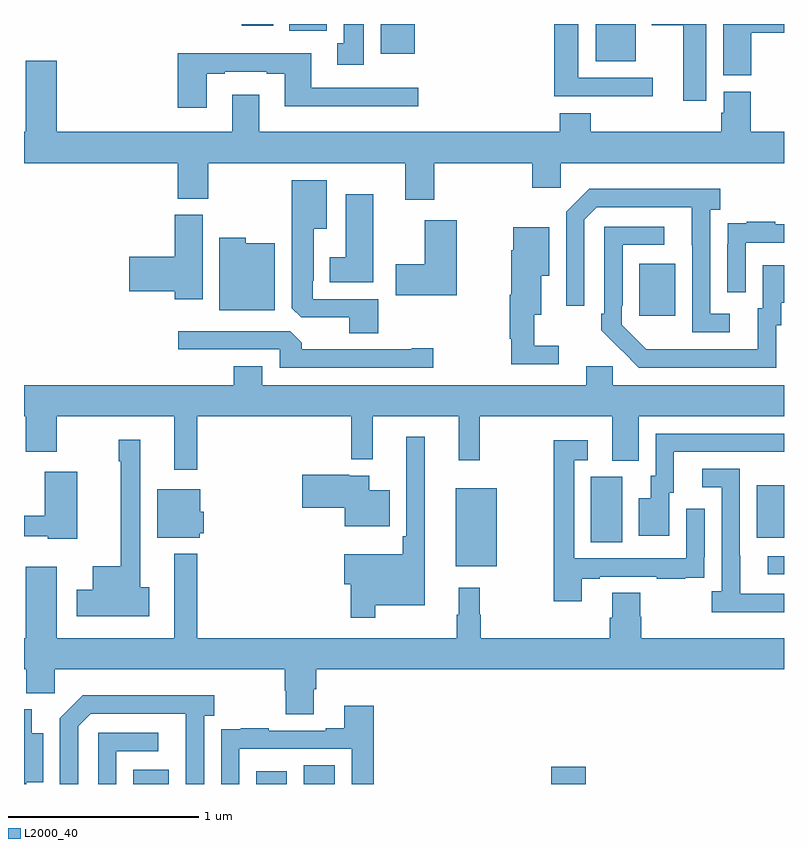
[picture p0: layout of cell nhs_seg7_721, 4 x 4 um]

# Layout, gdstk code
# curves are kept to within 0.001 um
import gdstk
lib = gdstk.Library(unit=1e-6, precision=1e-09)
def R(c, l, rs):  # rectangles x0, y0, x1, y1
    for r in rs: c.add(gdstk.rectangle(r[:2], r[2:], *l))
def P(c, l, *ps):  # polygons
    for p in ps: c.add(gdstk.Polygon(p, *l))
L2000_40 = (2000, 40)

nhs_seg7_721 = lib.new_cell('nhs_seg7_721')
R(nhs_seg7_721, L2000_40, [(165.575,1012,165.763,1012.075), (166.223,1012,166.384,1012.066), (166.472,1012,166.636,1012.1), (167.774,1012,167.957,1012.09), (168.915,1013.103,169,1013.199), (167.273,1013.147,167.488,1013.557), (167.984,1013.272,168.148,1013.616), (168.857,1013.297,169,1013.572), (168.239,1014.465,168.427,1014.739), (168.008,1015.805,168.22,1016), (166.877,1015.844,167.056,1016), (166.397,1015.964,166.594,1016), (166.145,1015.992,166.312,1016)])
P(nhs_seg7_721, L2000_40, [(166.789,1016),(166.682,1016),(166.682,1015.898),(166.649,1015.898),(166.649,1015.785),(166.789,1015.785)],
  [(168.827,1015.955),(169,1015.955),(169,1016),(168.68,1016),(168.68,1015.729),(168.827,1015.729)],
  [(168.31,1015.716),(167.917,1015.716),(167.917,1016),(167.792,1016),(167.792,1015.619),(168.31,1015.619)],
  [(168.592,1016),(168.305,1016),(168.305,1015.994),(168.47,1015.994),(168.47,1015.596),(168.592,1015.596)],
  [(165.961,1015.737),(166.057,1015.737),(166.057,1015.749),(166.277,1015.749),(166.277,1015.737),(166.373,1015.737),(166.373,1015.568),(167.074,1015.568),(167.074,1015.665),(166.513,1015.665),(166.513,1015.846),(165.809,1015.846),(165.809,1015.56),(165.961,1015.56)],
  [(168.683,1015.644),(168.683,1015.533),(168.671,1015.533),(168.671,1015.432),(167.984,1015.432),(167.984,1015.531),(167.819,1015.531),(167.819,1015.432),(166.237,1015.432),(166.237,1015.627),(166.097,1015.627),(166.097,1015.432),(165.172,1015.432),(165.172,1015.807),(165.008,1015.807),(165.008,1015.432),(165,1015.432),(165,1015.268),(165.809,1015.268),(165.809,1015.081),(165.969,1015.081),(165.969,1015.268),(167.006,1015.268),(167.006,1015.074),(167.159,1015.074),(167.159,1015.268),(167.675,1015.268),(167.675,1015.137),(167.826,1015.137),(167.826,1015.268),(169,1015.268),(169,1015.432),(168.824,1015.432),(168.824,1015.644)],
  [(166.865,1014.552),(166.521,1014.552),(166.521,1014.649),(166.525,1014.649),(166.525,1014.923),(166.594,1014.923),(166.594,1015.177),(166.409,1015.177),(166.409,1014.505),(166.458,1014.456),(166.712,1014.456),(166.712,1014.373),(166.865,1014.373)],
  [(168.715,1014.474),(168.612,1014.474),(168.612,1015.022),(168.664,1015.022),(168.664,1015.132),(167.974,1015.132),(167.853,1015.011),(167.853,1014.516),(167.949,1014.516),(167.949,1014.969),(168.015,1015.035),(168.515,1015.035),(168.516,1014.378),(168.715,1014.378)],
  [(166.837,1015.105),(166.694,1015.105),(166.694,1014.772),(166.61,1014.772),(166.61,1014.641),(166.837,1014.641)],
  [(165.94,1014.996),(165.794,1014.996),(165.794,1014.776),(165.555,1014.776),(165.555,1014.593),(165.794,1014.593),(165.794,1014.552),(165.94,1014.552)],
  [(167.278,1014.967),(167.108,1014.967),(167.108,1014.735),(166.956,1014.735),(166.956,1014.572),(167.278,1014.572)],
  [(168.798,1014.849),(169,1014.849),(169,1014.945),(168.953,1014.945),(168.953,1014.958),(168.805,1014.958),(168.805,1014.951),(168.703,1014.951),(168.703,1014.842),(168.702,1014.842),(168.702,1014.588),(168.798,1014.588)],
  [(168.96,1014.414),(168.985,1014.414),(168.985,1014.533),(169,1014.533),(169,1014.73),(168.887,1014.73),(168.887,1014.504),(168.863,1014.504),(168.863,1014.288),(168.276,1014.289),(168.147,1014.417),(168.147,1014.517),(168.15,1014.517),(168.15,1014.837),(168.37,1014.837),(168.37,1014.933),(168.054,1014.933),(168.054,1014.475),(168.039,1014.475),(168.039,1014.387),(168.236,1014.192),(168.96,1014.192)],
  [(167.815,1014.307),(167.686,1014.307),(167.686,1014.47),(167.722,1014.47),(167.722,1014.674),(167.764,1014.674),(167.764,1014.931),(167.576,1014.931),(167.576,1014.81),(167.564,1014.81),(167.564,1014.574),(167.557,1014.574),(167.557,1014.344),(167.565,1014.344),(167.565,1014.21),(167.815,1014.21)],
  [(166.321,1014.847),(166.167,1014.847),(166.167,1014.874),(166.028,1014.874),(166.028,1014.494),(166.321,1014.494)],
  [(167.155,1014.293),(167.042,1014.293),(167.042,1014.288),(166.463,1014.288),(166.463,1014.322),(166.401,1014.384),(165.813,1014.384),(165.813,1014.288),(166.347,1014.288),(166.347,1014.192),(167.155,1014.192)],
  [(165.913,1013.936),(166.722,1013.936),(166.722,1013.708),(166.835,1013.708),(166.835,1013.936),(167.288,1013.936),(167.288,1013.703),(167.398,1013.703),(167.398,1013.936),(168.095,1013.936),(168.095,1013.701),(168.235,1013.701),(168.235,1013.936),(169,1013.936),(169,1014.1),(168.099,1014.1),(168.099,1014.198),(167.96,1014.198),(167.96,1014.1),(166.255,1014.1),(166.255,1014.199),(166.103,1014.199),(166.103,1014.1),(165,1014.1),(165,1013.936),(165.008,1013.936),(165.008,1013.748),(165.172,1013.748),(165.172,1013.936),(165.791,1013.936),(165.791,1013.655),(165.913,1013.655)],
  [(168.397,1013.532),(168.421,1013.532),(168.421,1013.748),(169,1013.748),(169,1013.844),(168.324,1013.844),(168.324,1013.622),(168.299,1013.622),(168.299,1013.503),(168.236,1013.503),(168.236,1013.307),(168.397,1013.307)],
  [(166.849,1012.94),(167.11,1012.94),(167.11,1013.827),(167.013,1013.827),(167.013,1013.305),(166.993,1013.305),(166.993,1013.209),(166.686,1013.209),(166.686,1013.051),(166.72,1013.051),(166.72,1012.875),(166.849,1012.875)],
  [(165.658,1013.036),(165.613,1013.036),(165.613,1013.812),(165.499,1013.812),(165.499,1013.699),(165.509,1013.699),(165.509,1013.146),(165.362,1013.146),(165.362,1013.023),(165.278,1013.023),(165.278,1012.883),(165.658,1012.883)],
  [(167.935,1013.079),(168.031,1013.079),(168.031,1013.091),(168.331,1013.091),(168.331,1013.079),(168.479,1013.079),(168.479,1013.085),(168.581,1013.085),(168.581,1013.194),(168.582,1013.194),(168.582,1013.449),(168.486,1013.449),(168.486,1013.187),(167.895,1013.187),(167.895,1013.703),(167.968,1013.703),(167.968,1013.809),(167.787,1013.809),(167.787,1012.962),(167.935,1012.962)],
  [(169,1013.001),(168.769,1013.001),(168.769,1013.201),(168.768,1013.201),(168.768,1013.658),(168.57,1013.658),(168.57,1013.562),(168.672,1013.562),(168.672,1013.014),(168.621,1013.014),(168.621,1012.904),(169,1012.904)],
  [(165.28,1013.644),(165.11,1013.644),(165.11,1013.413),(165,1013.413),(165,1013.303),(165.126,1013.303),(165.126,1013.291),(165.28,1013.291)],
  [(166.924,1013.545),(166.816,1013.545),(166.816,1013.623),(166.712,1013.623),(166.712,1013.628),(166.464,1013.628),(166.464,1013.453),(166.688,1013.453),(166.688,1013.357),(166.924,1013.357)],
  [(165.924,1013.319),(165.946,1013.319),(165.946,1013.433),(165.928,1013.433),(165.928,1013.551),(165.701,1013.551),(165.701,1013.297),(165.924,1013.297)],
  [(166.525,1012.498),(166.538,1012.498),(166.538,1012.604),(169,1012.604),(169,1012.768),(168.248,1012.768),(168.248,1012.881),(168.243,1012.881),(168.243,1013.006),(168.095,1013.006),(168.095,1012.874),(168.083,1012.874),(168.083,1012.768),(167.405,1012.768),(167.405,1012.892),(167.398,1012.892),(167.398,1013.032),(167.288,1013.032),(167.288,1012.892),(167.277,1012.892),(167.277,1012.768),(165.913,1012.768),(165.913,1013.212),(165.791,1013.212),(165.791,1012.768),(165.172,1012.768),(165.172,1013.143),(165.008,1013.143),(165.008,1012.768),(165,1012.768),(165,1012.604),(165.011,1012.604),(165.011,1012.478),(165.162,1012.478),(165.162,1012.604),(166.373,1012.604),(166.373,1012.491),(166.378,1012.491),(166.378,1012.366),(166.525,1012.366)],
  [(165.285,1012.305),(165.351,1012.371),(165.851,1012.371),(165.852,1012),(165.948,1012),(165.948,1012.358),(166,1012.358),(166,1012.468),(165.31,1012.468),(165.189,1012.347),(165.189,1012),(165.285,1012)],
  [(166.134,1012.185),(166.725,1012.185),(166.725,1012),(166.841,1012),(166.841,1012.411),(166.685,1012.411),(166.685,1012.294),(166.589,1012.294),(166.589,1012.281),(166.289,1012.281),(166.289,1012.294),(166.141,1012.294),(166.141,1012.287),(166.039,1012.287),(166.039,1012.178),(166.038,1012.178),(166.038,1012),(166.134,1012)],
  [(165.011,1012.01),(165.1,1012.01),(165.1,1012.267),(165.04,1012.267),(165.04,1012.393),(165,1012.393),(165,1012),(165.011,1012)],
  [(165.486,1012.173),(165.706,1012.173),(165.706,1012.269),(165.39,1012.269),(165.39,1012),(165.486,1012)])

lib.write_gds('nhs_seg7_721.gds')
